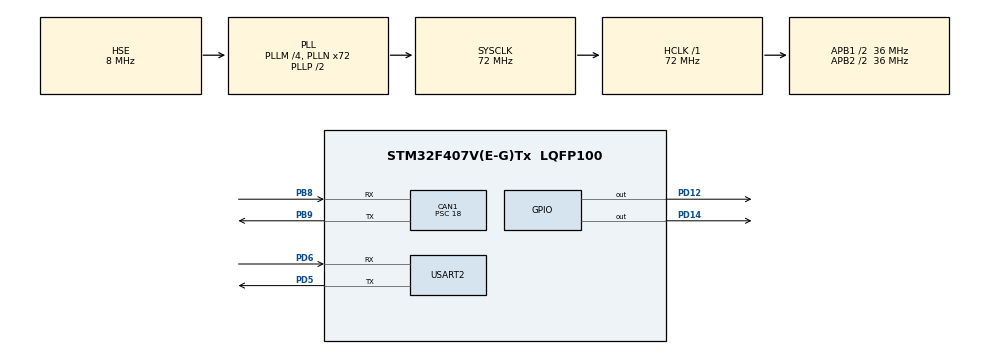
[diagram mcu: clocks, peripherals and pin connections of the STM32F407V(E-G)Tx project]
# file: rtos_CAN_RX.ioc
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CAN1.BS1=CAN_BS1_2TQ
CAN1.CalculateBaudRate=500000
CAN1.CalculateTimeBit=2000
CAN1.CalculateTimeQuantum=500.0
CAN1.Prescaler=18
FREERTOS.INCLUDE_vTaskDelay=1
FREERTOS.INCLUDE_vTaskDelayUntil=1
FREERTOS.Tasks01=defaultTask,-3,128,StartDefaultTask,Default,NULL,Dynamic,NULL,NULL
FREERTOS.configUSE_NEWLIB_REENTRANT=1
Mcu.Family=STM32F4
Mcu.Name=STM32F407V(E-G)Tx
Mcu.Package=LQFP100
NVIC.CAN1_RX0_IRQn=true\:5\:0\:false\:false\:true\:true\:true\:true\:true
NVIC.PriorityGroup=NVIC_PRIORITYGROUP_4
NVIC.TIM6_DAC_IRQn=true\:15\:0\:false\:false\:true\:false\:false\:true\:true
NVIC.TimeBase=TIM6_DAC_IRQn
NVIC.TimeBaseIP=TIM6
PB8.Mode=CAN_Activate
PB8.Signal=CAN1_RX
PB9.Mode=CAN_Activate
PB9.Signal=CAN1_TX
PD12.Signal=GPIO_Output
PD14.Signal=GPIO_Output
PD5.Mode=Asynchronous
PD5.Signal=USART2_TX
PD6.Mode=Asynchronous
PD6.Signal=USART2_RX
PH0-OSC_IN.Mode=HSE-External-Oscillator
PH0-OSC_IN.Signal=RCC_OSC_IN
PH1-OSC_OUT.Mode=HSE-External-Oscillator
PH1-OSC_OUT.Signal=RCC_OSC_OUT
ProjectManager.HeapSize=0x200
ProjectManager.StackSize=0x400
ProjectManager.TargetToolchain=STM32CubeIDE
RCC.48MHZClocksFreq_Value=20571428.57142857
RCC.AHBFreq_Value=72000000
RCC.APB1CLKDivider=RCC_HCLK_DIV2
RCC.APB1Freq_Value=36000000
RCC.APB1TimFreq_Value=72000000
RCC.APB2CLKDivider=RCC_HCLK_DIV2
RCC.APB2Freq_Value=36000000
RCC.APB2TimFreq_Value=72000000
RCC.CortexFreq_Value=72000000
RCC.HCLKFreq_Value=72000000
RCC.HSE_VALUE=8000000
RCC.HSI_VALUE=16000000
RCC.LSE_VALUE=32768
RCC.PLLM=4
RCC.PLLN=72
RCC.PLLQ=7
RCC.PLLSourceVirtual=RCC_PLLSOURCE_HSE
RCC.SYSCLKFreq_VALUE=72000000
RCC.SYSCLKSource=RCC_SYSCLKSOURCE_PLLCLK
RCC.VCOOutputFreq_Value=144000000
USART2.VirtualMode=VM_ASYNC
VP_FREERTOS_VS_CMSIS_V1.Mode=CMSIS_V1
VP_SYS_VS_tim6.Mode=TIM6
board=STM32F407G-DISC1

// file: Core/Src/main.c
/* USER CODE BEGIN Header */
/**
  ******************************************************************************
  * @file           : main.c
  * @brief          : Main program body
  ******************************************************************************
  * @attention
  *
  * Copyright (c) 2025 STMicroelectronics.
  * All rights reserved.
  *
  * This software is licensed under terms that can be found in the LICENSE file
  * in the root directory of this software component.
  * If no LICENSE file is provided AS-IS.
  *
  ******************************************************************************
  */
/* USER CODE END Header */
#include "main.h"
#include "cmsis_os.h"

/* USER CODE BEGIN Includes */
#include "string.h"
#include "stdio.h"
/* USER CODE END Includes */

CAN_HandleTypeDef hcan1;

UART_HandleTypeDef huart2;

osThreadId defaultTaskHandle;
/* USER CODE BEGIN PV */
CAN_RxHeaderTypeDef RxHeader;
uint8_t RxData[8];

volatile uint8_t dataReady = 0;

uint16_t LDR_Value;
uint16_t MQ5_Value;
/* USER CODE END PV */

void SystemClock_Config(void);
static void MX_GPIO_Init(void);
static void MX_USART2_UART_Init(void);
static void MX_CAN1_Init(void);
void StartDefaultTask(void const * argument);

/* USER CODE BEGIN 0 */

//void HAL_CAN_RxFifo0MsgPendingCallback(CAN_HandleTypeDef *hcan)
//{
//    HAL_GPIO_WritePin(GPIOD, GPIO_PIN_14, GPIO_PIN_RESET);
//    if (HAL_CAN_GetRxMessage(hcan, CAN_RX_FIFO0, &RxHeader, RxData) == HAL_OK)
//    {
//        if (RxHeader.DLC == 4) // Check if 8 bytes of data received
//        {
//            // Extract 16-bit values from 8-bit RxData array
//            LDR_Value   = (RxData[0] << 8) | RxData[1];
//            MQ5_Value   = (RxData[2] << 8) | RxData[3];
//            dataReady = 1; // Set flag to indicate new data ready
//        }
//    }
//}

void HAL_CAN_RxFifo0MsgPendingCallback(CAN_HandleTypeDef *hcan)
{
  HAL_CAN_GetRxMessage(hcan, CAN_RX_FIFO0, &RxHeader, RxData);
  dataReady = 1;
}

void HAL_CAN_ErrorCallback(CAN_HandleTypeDef *hcan)
{
  char msg[50];
  sprintf(msg, "CAN Error: 0x%08lX\r\n", HAL_CAN_GetError(hcan));
  HAL_UART_Transmit(&huart2, (uint8_t*)msg, strlen(msg), HAL_MAX_DELAY);
}
/* USER CODE END 0 */

int main(void)
{

  /* MCU Configuration--------------------------------------------------------*/

  /* Reset of all peripherals, Initializes the Flash interface and the Systick. */
  HAL_Init();

  /* Configure the system clock */
  SystemClock_Config();

  /* Initialize all configured peripherals */
  MX_GPIO_Init();
  MX_USART2_UART_Init();
  MX_CAN1_Init();
  /* USER CODE BEGIN 2 */
  HAL_CAN_Start(&hcan1);
  HAL_CAN_ActivateNotification(&hcan1, CAN_IT_RX_FIFO0_MSG_PENDING | CAN_IT_ERROR);
  /* USER CODE END 2 */

  /* Create the thread(s) */
  /* definition and creation of defaultTask */
  osThreadDef(defaultTask, StartDefaultTask, osPriorityIdle, 0, 128);
  defaultTaskHandle = osThreadCreate(osThread(defaultTask), NULL);

  /* Start scheduler */
  osKernelStart();

  /* We should never get here as control is now taken by the scheduler */

  /* Infinite loop */
  while (1)
  {

  }

}
void SystemClock_Config(void)
{
  RCC_OscInitTypeDef RCC_OscInitStruct = {0};
  RCC_ClkInitTypeDef RCC_ClkInitStruct = {0};

  /** Configure the main internal regulator output voltage
  */
  __HAL_RCC_PWR_CLK_ENABLE();
  __HAL_PWR_VOLTAGESCALING_CONFIG(PWR_REGULATOR_VOLTAGE_SCALE1);

  /** Initializes the RCC Oscillators according to the specified parameters
  * in the RCC_OscInitTypeDef structure.
  */
  RCC_OscInitStruct.OscillatorType = RCC_OSCILLATORTYPE_HSE;
  RCC_OscInitStruct.HSEState = RCC_HSE_ON;
  RCC_OscInitStruct.PLL.PLLState = RCC_PLL_ON;
  RCC_OscInitStruct.PLL.PLLSource = RCC_PLLSOURCE_HSE;
  RCC_OscInitStruct.PLL.PLLM = 4;
  RCC_OscInitStruct.PLL.PLLN = 72;
  RCC_OscInitStruct.PLL.PLLP = RCC_PLLP_DIV2;
  RCC_OscInitStruct.PLL.PLLQ = 7;
  if (HAL_RCC_OscConfig(&RCC_OscInitStruct) != HAL_OK)
  {
    Error_Handler();
  }

  /** Initializes the CPU, AHB and APB buses clocks
  */
  RCC_ClkInitStruct.ClockType = RCC_CLOCKTYPE_HCLK|RCC_CLOCKTYPE_SYSCLK
                              |RCC_CLOCKTYPE_PCLK1|RCC_CLOCKTYPE_PCLK2;
  RCC_ClkInitStruct.SYSCLKSource = RCC_SYSCLKSOURCE_PLLCLK;
  RCC_ClkInitStruct.AHBCLKDivider = RCC_SYSCLK_DIV1;
  RCC_ClkInitStruct.APB1CLKDivider = RCC_HCLK_DIV2;
  RCC_ClkInitStruct.APB2CLKDivider = RCC_HCLK_DIV2;

  if (HAL_RCC_ClockConfig(&RCC_ClkInitStruct, FLASH_LATENCY_2) != HAL_OK)
  {
    Error_Handler();
  }
}

static void MX_CAN1_Init(void)
{

  hcan1.Instance = CAN1;
  hcan1.Init.Prescaler = 18;
  hcan1.Init.Mode = CAN_MODE_NORMAL;
  hcan1.Init.SyncJumpWidth = CAN_SJW_1TQ;
  hcan1.Init.TimeSeg1 = CAN_BS1_2TQ;
  hcan1.Init.TimeSeg2 = CAN_BS2_1TQ;
  hcan1.Init.TimeTriggeredMode = DISABLE;
  hcan1.Init.AutoBusOff = DISABLE;
  hcan1.Init.AutoWakeUp = DISABLE;
  hcan1.Init.AutoRetransmission = DISABLE;
  hcan1.Init.ReceiveFifoLocked = DISABLE;
  hcan1.Init.TransmitFifoPriority = DISABLE;
  if (HAL_CAN_Init(&hcan1) != HAL_OK)
  {
    Error_Handler();
  }
  /* USER CODE BEGIN CAN1_Init 2 */
  CAN_FilterTypeDef FilterConfig;
  //FilterConfig.SlaveStartFilterBank = 9; // CAN1-0 to 8, CAN2-9 to 27
  FilterConfig.FilterActivation = CAN_FILTER_ENABLE;
  FilterConfig.FilterBank = 0; // Use any Filter from 0 to 8
  FilterConfig.FilterScale = CAN_FILTERSCALE_32BIT; // Use a 32-bit filter
  FilterConfig.FilterMode = CAN_FILTERMODE_IDMASK;
  FilterConfig.FilterMaskIdHigh = 0x7FF << 5;
  FilterConfig.FilterMaskIdLow = 0x0000;
  FilterConfig.FilterIdHigh = 0x0A9 << 5;
  FilterConfig.FilterIdLow = 0x0000;
  FilterConfig.FilterFIFOAssignment = CAN_RX_FIFO0;

  if(HAL_CAN_ConfigFilter(&hcan1, &FilterConfig) != HAL_OK)
    Error_Handler();
  /* USER CODE END CAN1_Init 2 */

}

static void MX_USART2_UART_Init(void)
{

  huart2.Instance = USART2;
  huart2.Init.BaudRate = 115200;
  huart2.Init.WordLength = UART_WORDLENGTH_8B;
  huart2.Init.StopBits = UART_STOPBITS_1;
  huart2.Init.Parity = UART_PARITY_NONE;
  huart2.Init.Mode = UART_MODE_TX_RX;
  huart2.Init.HwFlowCtl = UART_HWCONTROL_NONE;
  huart2.Init.OverSampling = UART_OVERSAMPLING_16;
  if (HAL_UART_Init(&huart2) != HAL_OK)
  {
    Error_Handler();
  }

}

static void MX_GPIO_Init(void)
{
  GPIO_InitTypeDef GPIO_InitStruct = {0};

  /* GPIO Ports Clock Enable */
  __HAL_RCC_GPIOH_CLK_ENABLE();
  __HAL_RCC_GPIOD_CLK_ENABLE();
  __HAL_RCC_GPIOB_CLK_ENABLE();

  /*Configure GPIO pin Output Level */
  HAL_GPIO_WritePin(GPIOD, GPIO_PIN_12|GPIO_PIN_14, GPIO_PIN_RESET);

  /*Configure GPIO pins : PD12 PD14 */
  GPIO_InitStruct.Pin = GPIO_PIN_12|GPIO_PIN_14;
  GPIO_InitStruct.Mode = GPIO_MODE_OUTPUT_PP;
  GPIO_InitStruct.Pull = GPIO_NOPULL;
  GPIO_InitStruct.Speed = GPIO_SPEED_FREQ_LOW;
  HAL_GPIO_Init(GPIOD, &GPIO_InitStruct);

}

void StartDefaultTask(void const * argument)
{
  /* USER CODE BEGIN 5 */
  while(1)  //  for(;;)
  {
      if (dataReady)
      {
          char uartMsg[100];

          // Format messages for LCD and UART
          sprintf(uartMsg, "LDR: %u  MQ5: %u  \r\n",LDR_Value, MQ5_Value);

          // Transmit over UART
          HAL_UART_Transmit(&huart2, (uint8_t*)uartMsg, strlen(uartMsg), HAL_MAX_DELAY);

          // LED control based on LDR value
          if (LDR_Value < 2000)
              HAL_GPIO_WritePin(GPIOD, GPIO_PIN_14, GPIO_PIN_SET);  // Turn on LED
          else
              HAL_GPIO_WritePin(GPIOD, GPIO_PIN_14, GPIO_PIN_RESET); // Turn off LED

          dataReady = 0; // Reset flag
      }
      osDelay(100); // Wait for 100ms
  }
  /* USER CODE END 5 */
}

void HAL_TIM_PeriodElapsedCallback(TIM_HandleTypeDef *htim)
{
  if (htim->Instance == TIM6)
  {
    HAL_IncTick();
  }
}

void Error_Handler(void)
{
  __disable_irq();
  while (1)
  {
  }
}
